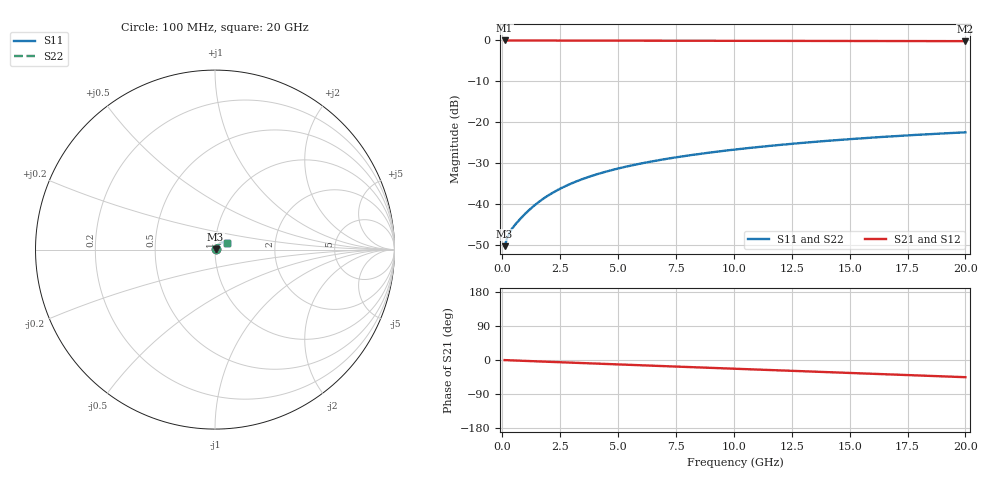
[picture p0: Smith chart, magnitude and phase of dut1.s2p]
! Touchstone file exported from HFSS 2026.1.0
!  File:  C:/ffzhzh/LocalFiles/Ansys_Project_Files/temp_train_BSMRDL_1_1782881693_42304.aedt
!  Generated:  12:56:13 PM Jul  1, 2026
!  Design:  BSMRDL
!  Project:  temp_train_BSMRDL_1_1782881693_42304
! Variables:
!  h_bsmrdl = 4.74um
!  h_ox = 20um
!  h_rdl = 5um
!  h_sub = 80um
!  h_tmrdl = 5um
!  h_tsv = 80um
!  h_via = 3um
!  l_bsmrdl = 809.33um
!  l_sub = 1209.33um
!  l_tmrdl = 200um
!  m_sub = 200um
!  pitch = 30.14um
!  r_tsv = 6um
!  s_tmrdl = 10um
!  w_bsmrdl = 23.57um
!  w_sub = 500um
!  w_tmrdl = 12um
!  x_tsv_center1 = 206um
!  x_tsv_center2 = 1038.9um
!  x_tsv_center3 = 1250.9um
!  x_tsv_center4 = 2083.8um
!  x_tsv_center5 = 2295.8um
!  x_tsv_center6 = 3128.7um
# GHz S MA R 50.000000
! Terminal data exported
! Port[1] = BSM_RDL1_1_T1
! Port[2] = BSM_RDL1_1_T2
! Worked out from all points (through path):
!   200 points, 100 MHz to 20 GHz, reference 50 ohm
!   highest |S21| = -0.03 dB at 100 MHz (marker M1); lowest = -0.2 dB at 20 GHz (marker M2)
!   group delay of S21, straight-line fit = 6.27 ps
!   lowest |S11| = -50.2 dB at 100 MHz (marker M3), VSWR 1.01, Z = 50.3 + j0.114 ohm
!   |S11| at or under -10 dB: start of sweep to end of sweep
!   |S22| runs from -50.2 to -22.5 dB; largest |S21 - S12| = 3.3e-15
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0.1  0.003096 21.5  0.9971 -0.3  0.9971 -0.3  0.003096 21.5
! Gamma 0 0 0 0
! Port Impedance 50 0 50 0
0.2  0.003834 30.6  0.9967 -0.5  0.9967 -0.5  0.003833 30.6
0.3  0.004449 34.8  0.9964 -0.8  0.9964 -0.8  0.004448 34.8
0.4  0.004955 38.0  0.9962 -1.0  0.9962 -1.0  0.004953 38.0
0.6  0.005861 43.7  0.9959 -1.5  0.9959 -1.5  0.005859 43.7
0.8  0.006778 48.5  0.9957 -1.9  0.9957 -1.9  0.006776 48.5
1  0.007742 52.3  0.9955 -2.4  0.9955 -2.4  0.007741 52.3
1.3  0.009261 56.2  0.9952 -3.1  0.9952 -3.1  0.00926 56.2
1.8  0.01188 59.8  0.9947 -4.3  0.9947 -4.3  0.01188 59.8
2.3  0.01451 61.3  0.9942 -5.4  0.9942 -5.4  0.0145 61.3
2.9  0.01758 61.7  0.9934 -6.8  0.9934 -6.8  0.01757 61.7
3.5  0.02054 61.3  0.9926 -8.2  0.9926 -8.2  0.02052 61.4
4.2  0.02382 60.4  0.9917 -9.8  0.9917 -9.8  0.02381 60.5
5  0.02738 59.1  0.9906 -11.7  0.9906 -11.7  0.02736 59.2
5.9  0.03117 57.6  0.9895 -13.7  0.9895 -13.7  0.03115 57.7
6.8  0.03477 55.9  0.9885 -15.8  0.9885 -15.8  0.03474 56.1
8.3  0.04045 53.2  0.9869 -19.1  0.9869 -19.1  0.0404 53.4
10.1  0.04684 49.9  0.9852 -23.2  0.9852 -23.2  0.04677 50.2
11.7  0.0522 46.9  0.9838 -26.8  0.9838 -26.8  0.05211 47.3
13.4  0.05761 43.7  0.9825 -30.6  0.9825 -30.6  0.05749 44.1
16.7  0.06724 37.4  0.9801 -38.0  0.9801 -38.0  0.06708 37.9
20  0.07563 30.8  0.9779 -45.4  0.9779 -45.4  0.07541 31.4
